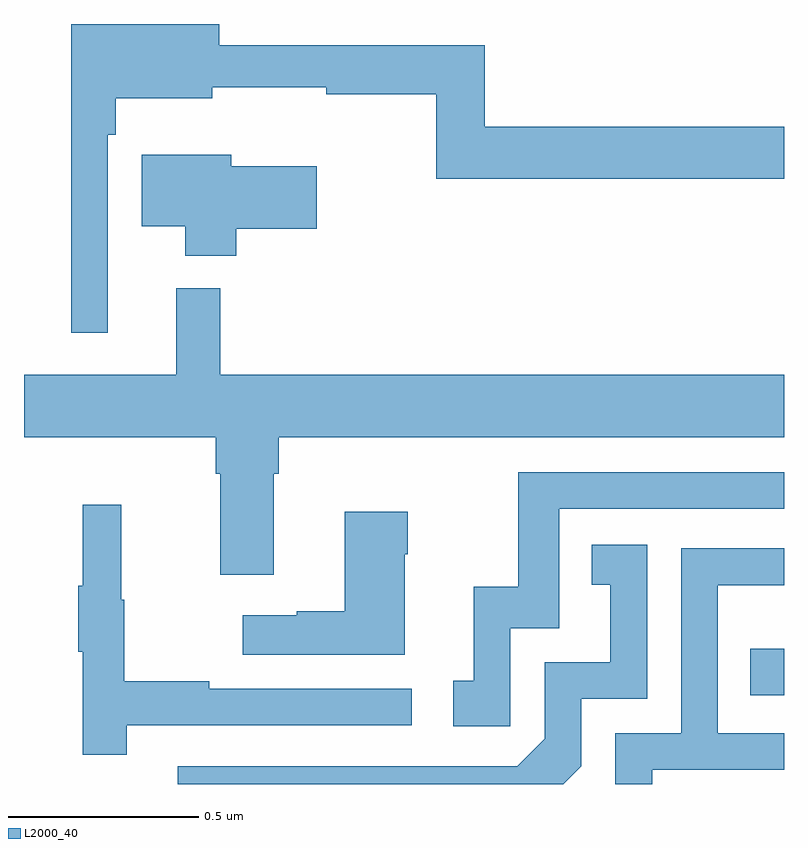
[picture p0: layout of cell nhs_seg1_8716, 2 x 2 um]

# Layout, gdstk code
import gdstk
lib = gdstk.Library(unit=1e-6, precision=1e-09)
def R(c, l, rs):  # rectangles x0, y0, x1, y1
    for r in rs: c.add(gdstk.rectangle(r[:2], r[2:], *l))
def P(c, l, *ps):  # polygons
    for p in ps: c.add(gdstk.Polygon(p, *l))
L2000_40 = (2000, 40)

nhs_seg1_8716 = lib.new_cell('nhs_seg1_8716')
R(nhs_seg1_8716, L2000_40, [(221.911,504.432,222,504.555)])
P(nhs_seg1_8716, L2000_40, [(220.221,505.907),(220.241,505.907),(220.241,506.003),(220.495,506.003),(220.495,506.033),(220.796,506.033),(220.796,506.014),(221.085,506.014),(221.085,505.792),(222,505.792),(222,505.928),(221.213,505.928),(221.213,506.143),(220.514,506.143),(220.514,506.199),(220.124,506.199),(220.124,505.386),(220.221,505.386)],
  [(220.559,505.66),(220.771,505.66),(220.771,505.825),(220.546,505.825),(220.546,505.855),(220.31,505.855),(220.31,505.667),(220.424,505.667),(220.424,505.589),(220.559,505.589)],
  [(220.657,505.016),(220.67,505.016),(220.67,505.112),(222,505.112),(222,505.276),(220.517,505.276),(220.517,505.504),(220.4,505.504),(220.4,505.276),(220,505.276),(220,505.112),(220.505,505.112),(220.505,505.016),(220.517,505.016),(220.517,504.75),(220.657,504.75)],
  [(221.28,504.609),(221.409,504.609),(221.409,504.924),(222,504.924),(222,505.02),(221.301,505.02),(221.301,504.718),(221.183,504.718),(221.183,504.471),(221.13,504.471),(221.13,504.351),(221.28,504.351)],
  [(220.271,504.354),(221.02,504.354),(221.02,504.45),(220.487,504.45),(220.487,504.47),(220.264,504.47),(220.264,504.684),(220.256,504.684),(220.256,504.934),(220.154,504.934),(220.154,504.721),(220.143,504.721),(220.143,504.547),(220.154,504.547),(220.154,504.276),(220.271,504.276)],
  [(221.002,504.803),(221.01,504.803),(221.01,504.916),(220.844,504.916),(220.844,504.653),(220.718,504.653),(220.718,504.643),(220.575,504.643),(220.575,504.539),(221.002,504.539)],
  [(221.466,504.246),(221.466,504.423),(221.64,504.423),(221.64,504.829),(221.494,504.829),(221.494,504.723),(221.543,504.723),(221.543,504.519),(221.37,504.519),(221.37,504.318),(221.298,504.246),(220.404,504.246),(220.404,504.199),(221.419,504.199)],
  [(221.653,504.237),(222,504.237),(222,504.333),(221.826,504.333),(221.826,504.722),(222,504.722),(222,504.819),(221.73,504.819),(221.73,504.333),(221.556,504.333),(221.556,504.199),(221.653,504.199)])

lib.write_gds('nhs_seg1_8716.gds')
